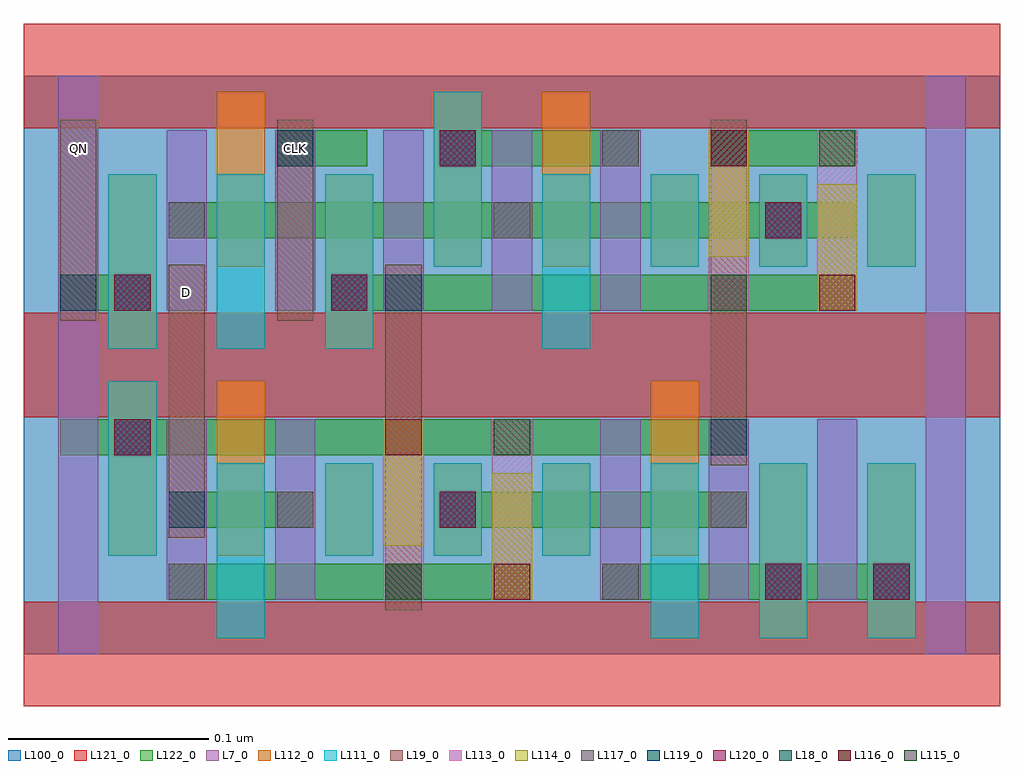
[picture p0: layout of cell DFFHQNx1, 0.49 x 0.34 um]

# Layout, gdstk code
import gdstk
lib = gdstk.Library(unit=1e-6, precision=2.5e-10)
def R(c, l, rs):  # rectangles x0, y0, x1, y1
    for r in rs: c.add(gdstk.rectangle(r[:2], r[2:], *l))
def A(c, l, x, y, w, h, nx, ny, dx, dy):  # array of equal rectangles
    R(c, l, [(x+i*dx, y+j*dy, x+i*dx+w, y+j*dy+h) for i in range(nx) for j in range(ny)])
L7_0 = (7, 0)
L18_0 = (18, 0)
L19_0 = (19, 0)
L100_0 = (100, 0)
L111_0 = (111, 0)
L112_0 = (112, 0)
L113_0 = (113, 0)
L114_0 = (114, 0)
L115_0 = (115, 0)
L116_0 = (116, 0)
L117_0 = (117, 0)
L119_0 = (119, 0)
L120_0 = (120, 0)
L121_0 = (121, 0)
L122_0 = (122, 0)

dffhqnx1 = lib.new_cell('DFFHQNx1')
A(dffhqnx1, L7_0, 0.287, 0.027, 0.02, 0.09, 3, 1, 0.054, 0)
A(dffhqnx1, L7_0, 0.071, 0.171, 0.02, 0.09, 5, 1, 0.054, 0)
R(dffhqnx1, L7_0, [(0.017,0,0.037,0.144), (0.449,0,0.469,0.144), (0.071,0.027,0.091,0.117), (0.125,0.027,0.145,0.117), (0.017,0.144,0.037,0.288), (0.449,0.144,0.469,0.288)])
R(dffhqnx1, L18_0, [(0.18,0.027,0.198,0.045), (0.072,0.063,0.09,0.081), (0.342,0.099,0.36,0.117), (0.018,0.171,0.036,0.189), (0.18,0.171,0.198,0.189), (0.126,0.243,0.144,0.261), (0.342,0.243,0.36,0.261)])
R(dffhqnx1, L19_0, [(0.18,0.022,0.198,0.194), (0.072,0.058,0.09,0.194), (0.342,0.094,0.36,0.266), (0.018,0.166,0.036,0.266), (0.126,0.166,0.144,0.266)])
R(dffhqnx1, L100_0, [(0,0,0.486,0.288)])
A(dffhqnx1, L111_0, 0.312, 0.008, 0.024, 0.087, 3, 1, 0.054, 0)
A(dffhqnx1, L111_0, 0.15, 0.049, 0.024, 0.046, 3, 1, 0.054, 0)
A(dffhqnx1, L111_0, 0.042, 0.152, 0.024, 0.087, 3, 1, 0.054, 0)
A(dffhqnx1, L111_0, 0.312, 0.193, 0.024, 0.046, 3, 1, 0.054, 0)
R(dffhqnx1, L111_0, [(0.096,0.008,0.12,0.095), (0.042,0.049,0.066,0.136), (0.258,0.152,0.282,0.239), (0.204,0.193,0.228,0.28)])
A(dffhqnx1, L112_0, 0.15, 0.049, 0.024, 0.046, 3, 1, 0.054, 0)
A(dffhqnx1, L112_0, 0.312, 0.193, 0.024, 0.046, 3, 1, 0.054, 0)
R(dffhqnx1, L112_0, [(0.366,0.008,0.39,0.095), (0.42,0.008,0.444,0.095), (0.042,0.049,0.066,0.136), (0.096,0.049,0.12,0.136), (0.312,0.049,0.336,0.136), (0.042,0.152,0.066,0.239), (0.15,0.152,0.174,0.239), (0.096,0.193,0.12,0.28), (0.204,0.193,0.228,0.28), (0.258,0.193,0.282,0.28)])
R(dffhqnx1, L113_0, [(0.179,0.027,0.199,0.117), (0.233,0.027,0.253,0.117), (0.341,0.171,0.361,0.261), (0.395,0.171,0.415,0.261)])
R(dffhqnx1, L114_0, [(0.233,0.027,0.253,0.09), (0.179,0.054,0.199,0.117), (0.395,0.171,0.415,0.234), (0.341,0.198,0.361,0.261)])
R(dffhqnx1, L115_0, [(0.18,0.027,0.198,0.045), (0.234,0.099,0.252,0.117), (0.342,0.171,0.36,0.189), (0.396,0.243,0.414,0.261)])
R(dffhqnx1, L116_0, [(0.234,0.027,0.252,0.045), (0.18,0.099,0.198,0.117), (0.396,0.171,0.414,0.189), (0.342,0.243,0.36,0.261)])
R(dffhqnx1, L117_0, [(0.072,0.027,0.09,0.045), (0.288,0.027,0.306,0.045), (0.126,0.063,0.144,0.081), (0.342,0.063,0.36,0.081), (0.072,0.207,0.09,0.225), (0.234,0.207,0.252,0.225), (0.126,0.243,0.144,0.261), (0.288,0.243,0.306,0.261)])
R(dffhqnx1, L119_0, [(0.369,0.027,0.387,0.045), (0.423,0.027,0.441,0.045), (0.207,0.063,0.225,0.081), (0.045,0.099,0.063,0.117), (0.045,0.171,0.063,0.189), (0.153,0.171,0.171,0.189), (0.369,0.207,0.387,0.225), (0.207,0.243,0.225,0.261)])
R(dffhqnx1, L120_0, [(0.369,0.027,0.387,0.045), (0.423,0.027,0.441,0.045), (0.207,0.063,0.225,0.081), (0.045,0.099,0.063,0.117), (0.045,0.171,0.063,0.189), (0.153,0.171,0.171,0.189), (0.369,0.207,0.387,0.225), (0.207,0.243,0.225,0.261)])
A(dffhqnx1, L121_0, 0, -0.026, 0.486, 0.052, 1, 3, 0, 0.144)
R(dffhqnx1, L122_0, [(0.072,0.027,0.252,0.045), (0.288,0.027,0.441,0.045), (0.072,0.063,0.144,0.081), (0.207,0.063,0.36,0.081), (0.018,0.099,0.36,0.117), (0.018,0.171,0.063,0.189), (0.153,0.171,0.414,0.189), (0.072,0.207,0.414,0.225), (0.126,0.243,0.171,0.261), (0.207,0.243,0.306,0.261), (0.342,0.243,0.414,0.261)])
dffhqnx1.add(gdstk.Label('QN', (0.027,0.252), layer=19, texttype=251))
dffhqnx1.add(gdstk.Label('D', (0.081,0.18), layer=19, texttype=251))
dffhqnx1.add(gdstk.Label('CLK', (0.135,0.252), layer=19, texttype=251))

lib.write_gds('DFFHQNx1.gds')
